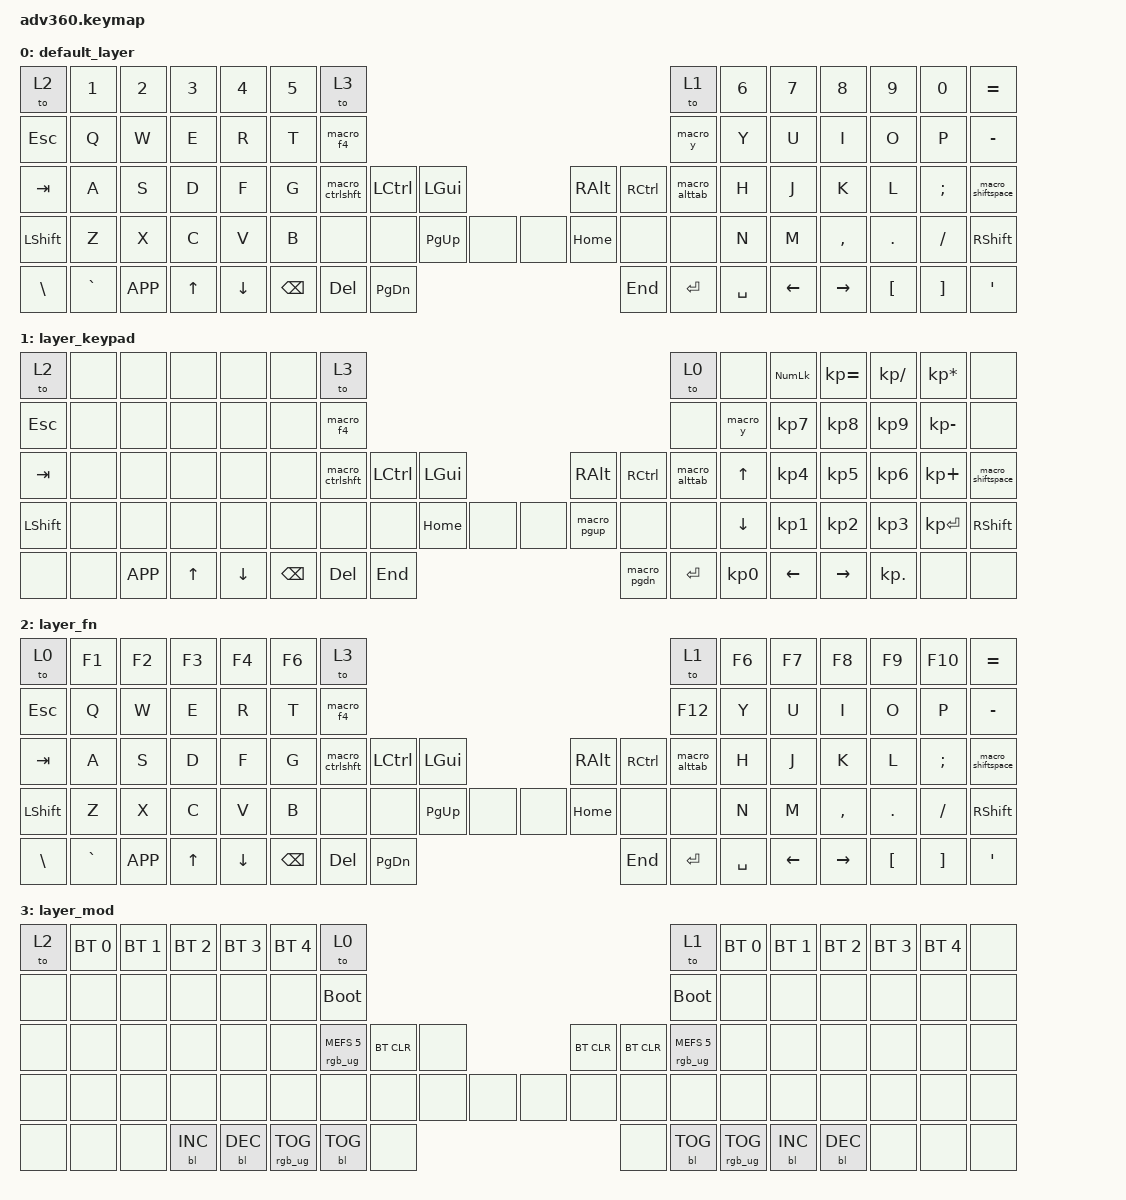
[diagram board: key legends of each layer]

/*
 * Copyright (c) 2020 The ZMK Contributors
 *
 * SPDX-License-Identifier: MIT
 */


/* THIS FILE WAS GENERATED!
 *
 * This file was generated automatically. You may or may not want to
 * edit it directly.
 */

#include <behaviors.dtsi>
#include <dt-bindings/zmk/keys.h>
#include <dt-bindings/zmk/bt.h>
#include <dt-bindings/zmk/rgb.h>
#include <dt-bindings/zmk/backlight.h>

/ {
  behaviors {
    #include "macros.dtsi"

    hm: homerow_mods {
        compatible = "zmk,behavior-hold-tap";
        label = "HOMEROW_MODS";
        #binding-cells = <2>;
        tapping-term-ms = <200>;
        quick_tap_ms = <175>;
        flavor = "tap-preferred";
        bindings = <&kp>, <&kp>;
    };
  };

    keymap {
        compatible = "zmk,keymap";


        default_layer {
            bindings = <
     &to 2     &kp N1     &kp N2  &kp N3    &kp N4  &kp N5                      &to 3                                                                     &to 1  &kp N6    &kp N7     &kp N8    &kp N9    &kp N0          &kp EQUAL
   &kp ESC      &kp Q      &kp W   &kp E     &kp R   &kp T                  &macro_f4                                                                  &macro_y   &kp Y     &kp U      &kp I     &kp O     &kp P          &kp MINUS
   &kp TAB      &kp A      &kp S   &kp D     &kp F   &kp G            &macro_ctrlshft  &kp LCTRL   &kp LGUI                  &kp RALT  &kp RCTRL  &macro_alttab   &kp H     &kp J      &kp K     &kp L  &kp SEMI  &macro_shiftspace
 &kp LSHFT      &kp Z      &kp X   &kp C     &kp V   &kp B                      &none      &none  &kp PG_UP   &none   &none  &kp HOME      &none          &none   &kp N     &kp M  &kp COMMA   &kp DOT  &kp FSLH          &kp RSHFT
  &kp BSLH  &kp GRAVE  &kp K_APP  &kp UP  &kp DOWN                           &kp BSPC    &kp DEL  &kp PG_DN                   &kp END  &kp ENTER      &kp SPACE          &kp LEFT  &kp RIGHT  &kp LBKT  &kp RBKT            &kp SQT
            >;
        };

        layer_keypad {
            bindings = <
     &to 2   &none      &none   &none     &none   &none                      &to 3                                                                       &to 0     &none  &kp KP_NUM  &kp KP_EQUAL  &kp KP_DIVIDE  &kp KP_MULTIPLY              &none
   &kp ESC   &none      &none   &none     &none   &none                  &macro_f4                                                                       &none  &macro_y   &kp KP_N7     &kp KP_N8      &kp KP_N9     &kp KP_MINUS              &none
   &kp TAB   &none      &none   &none     &none   &none            &macro_ctrlshft  &kp LCTRL  &kp LGUI                     &kp RALT  &kp RCTRL  &macro_alttab    &kp UP   &kp KP_N4     &kp KP_N5      &kp KP_N6      &kp KP_PLUS  &macro_shiftspace
 &kp LSHFT   &none      &none   &none     &none   &none                      &none      &none  &kp HOME   &none   &none  &macro_pgup      &none          &none  &kp DOWN   &kp KP_N1     &kp KP_N2      &kp KP_N3     &kp KP_ENTER          &kp RSHFT
     &none   &none  &kp K_APP  &kp UP  &kp DOWN                           &kp BSPC    &kp DEL   &kp END                  &macro_pgdn  &kp ENTER      &kp KP_N0              &kp LEFT     &kp RIGHT     &kp KP_DOT            &none              &none
            >;
        };

        layer_fn {
            bindings = <
     &to 0     &kp F1     &kp F2  &kp F3    &kp F4  &kp F6                      &to 3                                                                     &to 1  &kp F6    &kp F7     &kp F8    &kp F9   &kp F10          &kp EQUAL
   &kp ESC      &kp Q      &kp W   &kp E     &kp R   &kp T                  &macro_f4                                                                   &kp F12   &kp Y     &kp U      &kp I     &kp O     &kp P          &kp MINUS
   &kp TAB      &kp A      &kp S   &kp D     &kp F   &kp G            &macro_ctrlshft  &kp LCTRL   &kp LGUI                  &kp RALT  &kp RCTRL  &macro_alttab   &kp H     &kp J      &kp K     &kp L  &kp SEMI  &macro_shiftspace
 &kp LSHFT      &kp Z      &kp X   &kp C     &kp V   &kp B                      &none      &none  &kp PG_UP   &none   &none  &kp HOME      &none          &none   &kp N     &kp M  &kp COMMA   &kp DOT  &kp FSLH          &kp RSHFT
  &kp BSLH  &kp GRAVE  &kp K_APP  &kp UP  &kp DOWN                           &kp BSPC    &kp DEL  &kp PG_DN                   &kp END  &kp ENTER      &kp SPACE          &kp LEFT  &kp RIGHT  &kp LBKT  &kp RBKT            &kp SQT
            >;
        };

        layer_mod {
            bindings = <
  &to 2  &bt BT_SEL 0  &bt BT_SEL 1  &bt BT_SEL 2  &bt BT_SEL 3  &bt BT_SEL 4                             &to 0                                                                               &to 1  &bt BT_SEL 0  &bt BT_SEL 1  &bt BT_SEL 2  &bt BT_SEL 3  &bt BT_SEL 4   &none
  &none         &none         &none         &none         &none         &none                       &bootloader                                                                         &bootloader         &none         &none         &none         &none         &none   &none
  &none         &none         &none         &none         &none         &none            &rgb_ug RGB_MEFS_CMD 5  &bt BT_CLR   &none                  &bt BT_CLR  &bt BT_CLR  &rgb_ug RGB_MEFS_CMD 5         &none         &none         &none         &none         &none   &none
  &none         &none         &none         &none         &none         &none                             &none       &none   &none   &none   &none       &none       &none                   &none         &none         &none         &none         &none         &none   &none
  &none         &none         &none    &bl BL_INC    &bl BL_DEC                                 &rgb_ug RGB_TOG  &bl BL_TOG   &none                       &none  &bl BL_TOG         &rgb_ug RGB_TOG                  &bl BL_INC    &bl BL_DEC         &none         &none   &none
            >;
        };

    };
};
